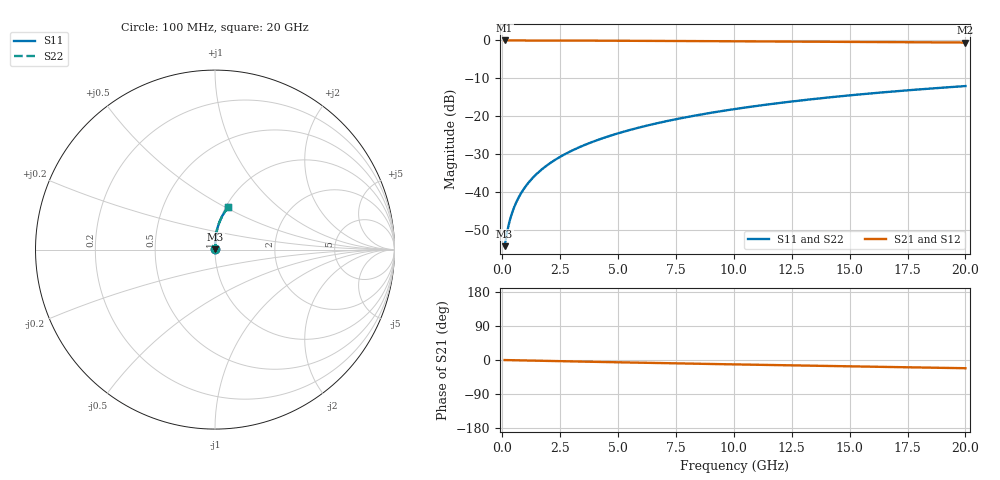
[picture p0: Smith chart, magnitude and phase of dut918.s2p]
! Touchstone file exported from HFSS 2024.1.0
!  File:  C:/UserFiles/LocalFiles/RDL_TSV_Batchsim/temp_RDL_bottom_918_1779940786.aedt
!  Generated:  12:03:00 PM May 28, 2026
!  Design:  RDL_bottom
!  Project:  temp_RDL_bottom_918_1779940786
!  Setup:  Setup1
!  Solution:  Sweep
! Variables:
!  dtsv = 10.80580581um
!  hbump = 3um
!  htsv = 77.58um
!  ldown = 251.55um
!  lrdl = 100um
!  p = 40
!  p1 = 55.85um
!  rhole = 1um
!  t = 450um
!  tdown = 3.4um
!  trdl = 3.915915916um
!  wdown = 20.81um
!  wrdl = 20um
# GHz S MA R 50.000000
! Terminal data exported
! Port[1] = RDL1_T1
! Port[2] = RDL1_T2
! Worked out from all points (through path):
!   200 points, 100 MHz to 20 GHz, reference 50 ohm
!   highest |S21| = -0.01 dB at 100 MHz (marker M1); lowest = -0.6 dB at 20 GHz (marker M2)
!   group delay of S21, straight-line fit = 2.99 ps
!   lowest |S11| = -54.3 dB at 100 MHz (marker M3), VSWR 1.00, Z = 50.1 + j0.123 ohm
!   |S11| at or under -10 dB: start of sweep to end of sweep
!   |S22| runs from -54.3 to -12.1 dB; largest |S21 - S12| = 3.3e-15
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0.1  0.00192 39.8  0.9985 -0.1  0.9985 -0.1  0.00192 39.8
! Gamma 0 0 0 0
! Port Impedance 50 0 50 0
0.2  0.002871 57.9  0.9985 -0.3  0.9985 -0.3  0.002871 57.9
0.3  0.003938 66.3  0.9984 -0.4  0.9984 -0.4  0.003938 66.3
0.4  0.005032 71.1  0.9983 -0.5  0.9983 -0.5  0.005032 71.1
0.5  0.006135 74.2  0.9982 -0.6  0.9982 -0.6  0.006135 74.2
0.6  0.007244 76.4  0.9982 -0.8  0.9982 -0.8  0.007244 76.4
0.8  0.009478 79.4  0.998 -1.0  0.998 -1.0  0.009478 79.4
1.1  0.01287 82.0  0.9978 -1.4  0.9978 -1.4  0.01287 82.0
1.5  0.01743 84.0  0.9973 -1.9  0.9973 -1.9  0.01743 84.0
1.8  0.02089 84.9  0.997 -2.2  0.997 -2.2  0.02089 84.9
2.1  0.02437 85.6  0.9965 -2.6  0.9965 -2.6  0.02437 85.6
2.7  0.03141 86.4  0.9955 -3.3  0.9955 -3.3  0.03141 86.4
3.5  0.04095 86.9  0.9938 -4.3  0.9938 -4.3  0.04095 86.9
4.2  0.04945 87.0  0.9921 -5.1  0.9921 -5.1  0.04944 87.0
5  0.05932 86.9  0.99 -6.1  0.99 -6.1  0.05932 86.9
5.9  0.07061 86.5  0.9873 -7.1  0.9873 -7.1  0.07061 86.5
6.8  0.08207 86.0  0.9845 -8.1  0.9845 -8.1  0.08207 86.0
8.4  0.1027 84.8  0.9793 -9.9  0.9793 -9.9  0.1027 84.8
10.1  0.1249 83.2  0.9735 -11.7  0.9735 -11.7  0.1249 83.2
13.4  0.1677 79.8  0.962 -15.1  0.962 -15.1  0.1677 79.8
16.7  0.2094 76.2  0.95 -18.4  0.95 -18.4  0.2094 76.2
20  0.2495 72.6  0.9375 -21.7  0.9375 -21.7  0.2495 72.6
